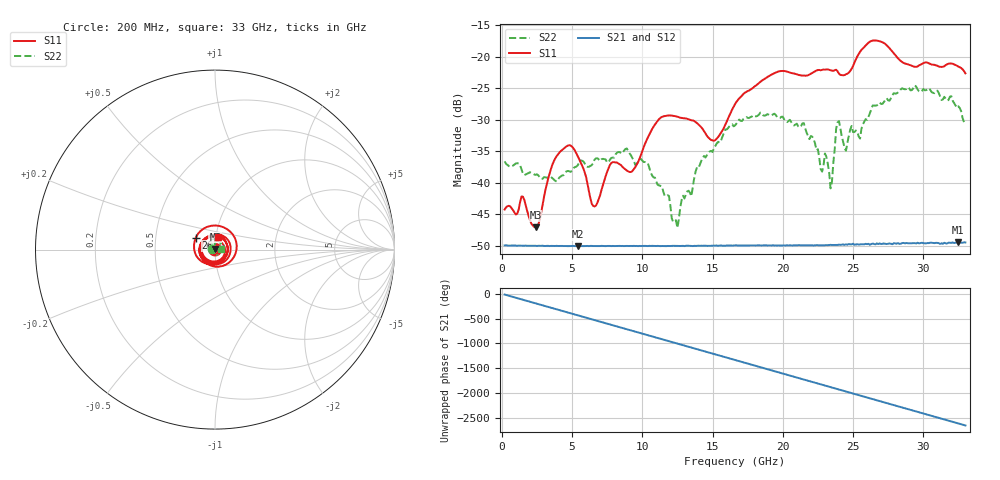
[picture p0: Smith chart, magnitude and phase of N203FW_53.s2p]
# GHZ S RI R 50
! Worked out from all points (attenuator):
!   329 points, 200 MHz to 33 GHz, reference 50 ohm
!   highest |S21| = -49.47 dB at 32.5 GHz (marker M1); lowest = -50.1 dB at 5.4 GHz (marker M2)
!   lowest |S11| = -47.1 dB at 2.4 GHz (marker M3), VSWR 1.01, Z = 50.3 + j0.355 ohm
!   |S11| at or under -10 dB: start of sweep to end of sweep
!   |S22| runs from -47.2 to -24.6 dB; largest |S21 - S12| = 8.8e-05
!   S11 on the Smith chart (normalised r, x): 200 MHz: 1.01, +0.00; 26 GHz: 0.80, +0.11; 33 GHz: 1.03, +0.15
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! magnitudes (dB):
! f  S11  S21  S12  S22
! 200 MHz  -44.3  -50.0  -49.9  -36.6
! 1.5 GHz  -42.2  -50.0  -50.0  -38.6
! 2.4 GHz  -47.1  -50.0  -50.0  -38.8
! 3.8 GHz  -36.2  -50.1  -50.0  -39.7
! 5.4 GHz  -35.8  -50.1  -50.0  -37.3
! 5.7 GHz  -37.2  -50.1  -50.0  -36.5
! 6.6 GHz  -43.8  -50.1  -50.1  -36.4
! 7.8 GHz  -36.9  -50.1  -50.0  -36.1
! 8.9 GHz  -38.1  -50.0  -50.0  -34.6
! 11.2 GHz  -29.9  -50.1  -50.0  -40.4
! 12.5 GHz  -29.5  -50.1  -50.0  -47.2
! 12.9 GHz  -29.8  -50.0  -50.0  -42.1
! 15.1 GHz  -33.4  -50.0  -50.0  -34.6
! 16.6 GHz  -27.5  -49.9  -50.0  -30.9
! 22.1 GHz  -22.6  -49.9  -49.9  -32.7
! 23.4 GHz  -22.2  -49.9  -49.9  -40.9
! 23.9 GHz  -22.3  -49.9  -49.9  -30.4
! 24.5 GHz  -22.8  -49.8  -49.8  -34.9
! 26 GHz  -18.0  -49.8  -49.7  -30.0
! 27.6 GHz  -18.7  -49.7  -49.7  -27.0
! 32.5 GHz  -21.6  -49.5  -49.4  -27.9
! 33 GHz  -22.6  -49.5  -49.5  -30.2
